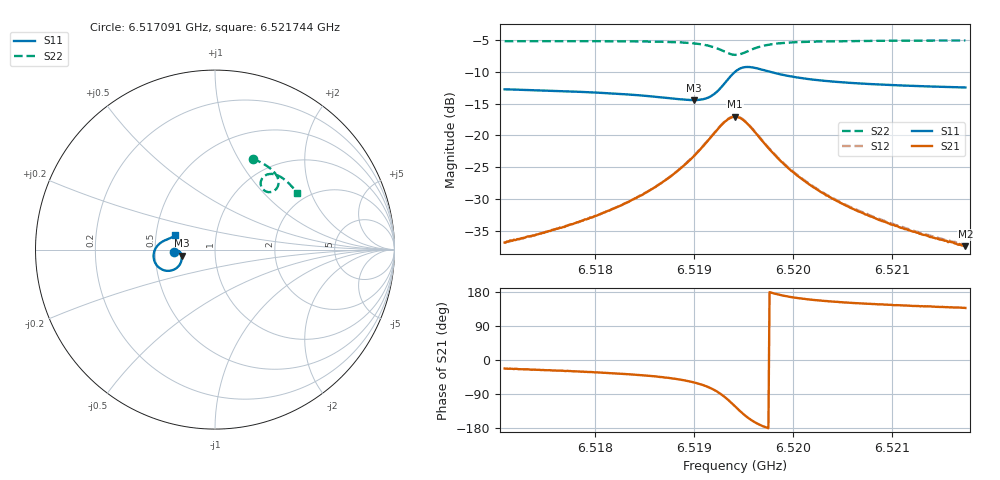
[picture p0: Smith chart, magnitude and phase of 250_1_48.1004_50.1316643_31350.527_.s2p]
#  HZ  S  RI  R  50.00
! Rohde & Schwarz Vector Network Analyzer
! Rohde-Schwarz,ZNB20-2Port,1311601062101988,3.16
! Created: UTC 12/23/2023, 3:59:39 AM
! freq[Hz]  re:S11  im:S11  re:S21  im:S21  re:S12  im:S12  re:S22  im:S22
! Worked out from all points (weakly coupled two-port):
!   401 points, 6.517091 GHz to 6.521744 GHz, reference 50 ohm
!   highest |S21| = -17.07 dB at 6.519417 GHz (marker M1); lowest = -37.4 dB at 6.521744 GHz (marker M2)
!   lowest |S11| = -14.5 dB at 6.518998 GHz (marker M3), VSWR 1.47, Z = 34.2 - j2.44 ohm
!   |S11| at or under -10 dB: start of sweep to 6.519419 GHz; 6.519767 GHz to end of sweep
!   |S22| runs from -7.4 to -5.1 dB; largest |S21 - S12| = 0.0043
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6.5170907e9  -0.2296 -0.0152  0.0134 -0.0055  0.0135 -0.00509  0.2095 0.5068
6.5174048e9  -0.2262 -0.0106  0.0149 -0.00722  0.0153 -0.00669  0.2328 0.4969
6.5178701e9  -0.2194 -0.00525  0.0183 -0.011  0.0187 -0.0103  0.267 0.4795
6.5183237e9  -0.21 -0.00376  0.0236 -0.018  0.0243 -0.0173  0.3011 0.4573
6.5186494e9  -0.1998 -0.00873  0.0294 -0.0288  0.0304 -0.0281  0.3264 0.4351
6.5188239e9  -0.1929 -0.0169  0.0331 -0.0396  0.0346 -0.0388  0.34 0.4182
6.5189984e9  -0.1861 -0.0343  0.0354 -0.0585  0.0375 -0.0578  0.3515 0.394
6.5191031e9  -0.1855 -0.0534  0.0327 -0.0771  0.0353 -0.0766  0.3543 0.3733
6.5191962e9  -0.1932 -0.0779  0.0222 -0.0993  0.0251 -0.0994  0.3489 0.3501
6.5193241e9  -0.2368 -0.1145  -0.0223 -0.1279  -0.0187 -0.1297  0.315 0.3217
6.5193706e9  -0.265 -0.1183  -0.0483 -0.1285  -0.045 -0.1309  0.2943 0.3206
6.5194172e9  -0.2954 -0.1107  -0.0746 -0.1186  -0.0718 -0.1217  0.2744 0.3293
6.5194637e9  -0.3207 -0.0918  -0.0952 -0.0994  -0.0931 -0.1028  0.26 0.3459
6.5195219e9  -0.3386 -0.0598  -0.1076 -0.0696  -0.1065 -0.0732  0.2544 0.3705
6.5196149e9  -0.3392 -0.0133  -0.1028 -0.0295  -0.1028 -0.0327  0.2664 0.4016
6.5197196e9  -0.3231 0.0187  -0.0855 -0.0048  -0.086 -0.00728  0.2896 0.4176
6.5199523e9  -0.2897 0.0462  -0.0545 0.012  -0.0553 0.0106  0.3312 0.4193
6.5201965e9  -0.2689 0.0557  -0.0372 0.0144  -0.0381 0.0135  0.3601 0.4082
6.5205571e9  -0.2515 0.0624  -0.0243 0.0133  -0.025 0.0128  0.3903 0.3876
6.5209759e9  -0.2393 0.0686  -0.0168 0.0115  -0.0174 0.0111  0.4176 0.3626
6.5213132e9  -0.232 0.0731  -0.0131 0.0103  -0.0138 0.0102  0.4364 0.3424
6.5217436e9  -0.2244 0.079  -0.00995 0.00918  -0.0106 0.00913  0.4578 0.3155
